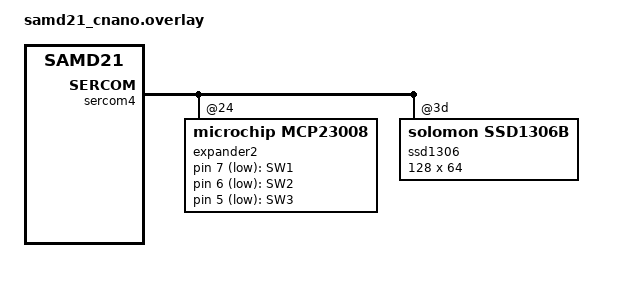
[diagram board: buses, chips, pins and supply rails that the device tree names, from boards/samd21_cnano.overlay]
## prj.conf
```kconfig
CONFIG_GPIO=y
CONFIG_I2C=y
CONFIG_INPUT=y
CONFIG_INPUT_GPIO_KEYS=y

CONFIG_DISPLAY=y
CONFIG_CHARACTER_FRAMEBUFFER=y

CONFIG_HEAP_MEM_POOL_SIZE=2048
```

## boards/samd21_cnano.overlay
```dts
/*
 * SPDX-License-Identifier: Apache-2.0
*/

#include <zephyr/dt-bindings/gpio/gpio.h>
#include <zephyr/dt-bindings/input/input-event-codes.h>

/ {
    chosen {
        zephyr,display = &ssd1306;
    };

    explorer_buttons: explorer-buttons {
        compatible = "gpio-keys";
        polling-mode;
        debounce-interval-ms = <30>;

        sw1: button_1 {
            gpios = <&expander2 7 (GPIO_PULL_UP | GPIO_ACTIVE_LOW)>;
            label = "SW1";
            zephyr,code = <INPUT_KEY_1>;
        };

        sw2: button_2 {
            gpios = <&expander2 6 (GPIO_PULL_UP | GPIO_ACTIVE_LOW)>;
            label = "SW2";
            zephyr,code = <INPUT_KEY_2>;
        };

        sw3: button_3 {
            gpios = <&expander2 5 (GPIO_PULL_UP | GPIO_ACTIVE_LOW)>;
            label = "SW3";
            zephyr,code = <INPUT_KEY_3>;
        };
    };
};

&sercom4 {
    expander2: gpio@24 {
        compatible = "microchip,mcp23008";
        reg = <0x24>;
        gpio-controller;
        #gpio-cells = <2>;
        status = "okay";
    };

    ssd1306: ssd1306@3d {
        compatible = "solomon,ssd1306b";
        reg = <0x3d>;

        width = <128>;
        height = <64>;
        segment-offset = <0>;
        page-offset = <0>;
        display-offset = <0>;
        multiplex-ratio = <63>;
        prechargep = <0x22>;

        segment-remap;
        com-invdir;
    };
};
```

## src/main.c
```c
/*
 * SPDX-License-Identifier: Apache-2.0
 */

#include <zephyr/device.h>
#include <zephyr/display/cfb.h>
#include <zephyr/drivers/display.h>
#include <zephyr/dt-bindings/input/input-event-codes.h>
#include <zephyr/input/input.h>
#include <zephyr/kernel.h>
#include <zephyr/sys/atomic.h>
#include <zephyr/sys/printk.h>

#define BUTTONS_NODE DT_NODELABEL(explorer_buttons)

static const struct device *const display_dev = DEVICE_DT_GET(DT_CHOSEN(zephyr_display));
static const struct device *const buttons_dev = DEVICE_DT_GET(BUTTONS_NODE);

static atomic_t pressed_buttons;

static void button_input_cb(struct input_event *evt, void *user_data)
{
	atomic_val_t button_bit;

	ARG_UNUSED(user_data);

	if (evt->type != INPUT_EV_KEY) {
		return;
	}

	switch (evt->code) {
	case INPUT_KEY_1:
		button_bit = BIT(0);
		break;
	case INPUT_KEY_2:
		button_bit = BIT(1);
		break;
	case INPUT_KEY_3:
		button_bit = BIT(2);
		break;
	default:
		return;
	}

	if (evt->value != 0) {
		atomic_or(&pressed_buttons, button_bit);
	} else {
		atomic_and(&pressed_buttons, ~button_bit);
	}
}

INPUT_CALLBACK_DEFINE(buttons_dev, button_input_cb, NULL);

static int show_button(atomic_val_t buttons)
{
	const char *message = "     -     ";
	int ret;

	if ((buttons & BIT(0)) != 0) {
		if ((buttons & BIT(1)) != 0) {
			if ((buttons & BIT(2)) != 0) {
				message = "SW1 SW2 SW3";
			} else {
				message = "SW1 SW2";
			}
		} else if ((buttons & BIT(2)) != 0) {
			message = "SW1     SW3";
		} else {
			message = "SW1";
		}
	} else if ((buttons & BIT(1)) != 0) {
		if ((buttons & BIT(2)) != 0) {
			message = "    SW2 SW3";
		} else {
			message = "    SW2";
		}
	} else if ((buttons & BIT(2)) != 0) {
		message = "        SW3";
	}

	ret = cfb_framebuffer_clear(display_dev, false);
	if (ret < 0) {
		return ret;
	}

	ret = cfb_print(display_dev, "CAPACITIVE  BUTTONS", 0, 0);
	if (ret < 0) {
		return ret;
	}

	ret = cfb_print(display_dev, message, 0, 48);
	if (ret < 0) {
		return ret;
	}

	return cfb_framebuffer_finalize(display_dev);
}

int main(void)
{
	atomic_val_t previous_buttons = -1;
	int ret;

	if (!device_is_ready(display_dev) || !device_is_ready(buttons_dev)) {
		printk("Hardware not ready\n");
		return 0;
	}

	ret = display_set_pixel_format(display_dev, PIXEL_FORMAT_MONO10);
	if (ret != 0) {
		ret = display_set_pixel_format(display_dev, PIXEL_FORMAT_MONO01);
		if (ret != 0) {
			printk("Unsupported pixel format\n");
			return 0;
		}
	}

	ret = cfb_framebuffer_init(display_dev);
	if (ret != 0) {
		printk("CFB initialization failed\n");
		return 0;
	}

	ret = cfb_framebuffer_set_font(display_dev, 0);
	if (ret != 0) {
		printk("Font selection failed\n");
		return 0;
	}

	ret = display_blanking_off(display_dev);
	if (ret != 0 && ret != -ENOSYS) {
		printk("Failed to turn display blanking off\n");
		return 0;
	}

	while (1) {
		atomic_val_t current_buttons = atomic_get(&pressed_buttons);

		if (current_buttons != previous_buttons) {
			ret = show_button(current_buttons);
			if (ret < 0) {
				printk("Failed to update display\n");
				return 0;
			}

			previous_buttons = current_buttons;
		}

		k_msleep(50);
	}

	return 0;
}
```
